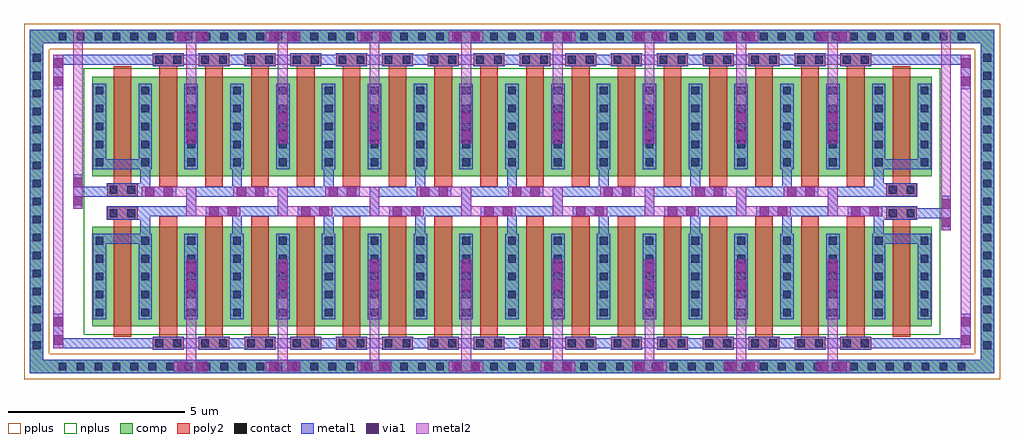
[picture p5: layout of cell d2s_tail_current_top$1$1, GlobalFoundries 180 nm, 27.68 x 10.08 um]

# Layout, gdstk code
from math import pi, radians
import gdstk
lib = gdstk.Library(unit=1e-6, precision=5e-09)
def R(c, l, rs):  # rectangles x0, y0, x1, y1
    for r in rs: c.add(gdstk.rectangle(r[:2], r[2:], *l))
def A(c, l, x, y, w, h, nx, ny, dx, dy):  # array of equal rectangles
    R(c, l, [(x+i*dx, y+j*dy, x+i*dx+w, y+j*dy+h) for i in range(nx) for j in range(ny)])
comp = (22, 0)
poly2 = (30, 0)
pplus = (31, 0)
nplus = (32, 0)
contact = (33, 0)
metal1 = (34, 0)
via1 = (35, 0)
metal2 = (36, 0)

d2s_tail_current_ncell_1 = lib.new_cell('d2s_tail_current_ncell_1$2$1$1')
R(d2s_tail_current_ncell_1, comp, [(0,0.3,0.42,3.12), (0.42,0.3,1.3,3.12), (1.3,0.3,1.72,3.12)])
R(d2s_tail_current_ncell_1, poly2, [(0.61,0,1.11,3.42)])
A(d2s_tail_current_ncell_1, contact, 0.1, 0.58, 0.22, 0.22, 1, 5, 0, 0.51)
A(d2s_tail_current_ncell_1, contact, 1.4, 0.58, 0.22, 0.22, 1, 5, 0, 0.51)
R(d2s_tail_current_ncell_1, metal1, [(0.02,0.5,0.4,2.92), (1.32,0.5,1.7,2.92)])

c_d2s_tail_current_ncell_1 = lib.new_cell('d2s_tail_current_ncell_1$1$1$1$1$1')
R(c_d2s_tail_current_ncell_1, comp, [(0,0.3,0.42,3.12), (0.42,0.3,1.3,3.12), (1.3,0.3,1.72,3.12)])
R(c_d2s_tail_current_ncell_1, poly2, [(0.61,0,1.11,3.42)])
A(c_d2s_tail_current_ncell_1, contact, 0.1, 0.58, 0.22, 0.22, 1, 5, 0, 0.51)
A(c_d2s_tail_current_ncell_1, contact, 1.4, 0.58, 0.22, 0.22, 1, 5, 0, 0.51)
R(c_d2s_tail_current_ncell_1, metal1, [(0.02,0.5,0.4,2.92), (1.32,0.5,1.7,2.92)])

d2s_tail_current_ncell_4 = lib.new_cell('d2s_tail_current_ncell_4$1$1$1$1')
A(d2s_tail_current_ncell_4, poly2, 0.425, 3.42, 0.87, 0.36, 4, 1, 1.3, 0)
R(d2s_tail_current_ncell_4, contact, [(0.495,3.49,0.715,3.71), (1.005,3.49,1.225,3.71), (1.795,3.49,2.015,3.71), (2.305,3.49,2.525,3.71), (3.095,3.49,3.315,3.71), (3.605,3.49,3.825,3.71), (4.395,3.49,4.615,3.71), (4.905,3.49,5.125,3.71)])
A(d2s_tail_current_ncell_4, metal1, 0.415, 3.41, 0.89, 0.38, 4, 1, 1.3, 0)
d2s_tail_current_ncell_4.add(gdstk.Reference(c_d2s_tail_current_ncell_1, (0,0)))
d2s_tail_current_ncell_4.add(gdstk.Reference(c_d2s_tail_current_ncell_1, (1.3,0)))
d2s_tail_current_ncell_4.add(gdstk.Reference(c_d2s_tail_current_ncell_1, (2.6,0)))
d2s_tail_current_ncell_4.add(gdstk.Reference(c_d2s_tail_current_ncell_1, (3.9,0)))

c_d2s_tail_current_ncell_4 = lib.new_cell('d2s_tail_current_ncell_4_4$1$1$1')
R(c_d2s_tail_current_ncell_4, via1, [(1.12,0.23,1.38,0.49), (1.64,0.23,1.9,0.49), (3.72,0.23,3.98,0.49), (4.24,0.23,4.5,0.49), (1.38,2.52,1.64,2.78), (3.98,2.52,4.24,2.78), (1.38,3.04,1.64,3.3), (3.98,3.04,4.24,3.3), (2.03,4.63,2.29,4.89), (2.55,4.63,2.81,4.89), (4.63,4.63,4.89,4.89), (5.15,4.63,5.41,4.89), (0.21,5.19,0.47,5.45), (0.73,5.19,0.99,5.45), (2.81,5.19,3.07,5.45), (3.33,5.19,3.59,5.45), (1.38,6.78,1.64,7.04), (3.98,6.78,4.24,7.04), (1.38,7.3,1.64,7.56), (3.98,7.3,4.24,7.56), (1.12,9.59,1.38,9.85), (1.64,9.59,1.9,9.85), (3.72,9.59,3.98,9.85), (4.24,9.59,4.5,9.85)])
c_d2s_tail_current_ncell_4.add(gdstk.FlexPath([(1.305,1.02),(5.41,1.02)], 0.28, ends="flush", simple_path=True, layer=34, datatype=0))  # metal1
c_d2s_tail_current_ncell_4.add(gdstk.FlexPath([(2.81,5.96),(2.81,5.46)], 0.28, ends="flush", simple_path=True, layer=34, datatype=0))  # metal1
c_d2s_tail_current_ncell_4.add(gdstk.FlexPath([(0.21,9.72),(5.41,9.72)], 0.38, ends="flush", simple_path=True, layer=34, datatype=0))  # metal1
c_d2s_tail_current_ncell_4.add(gdstk.FlexPath([(2.81,4.12),(2.81,4.62)], 0.28, ends="flush", simple_path=True, layer=34, datatype=0))  # metal1
c_d2s_tail_current_ncell_4.add(gdstk.FlexPath([(0.21,4.12),(0.21,4.62)], 0.28, ends="flush", simple_path=True, layer=34, datatype=0))  # metal1
c_d2s_tail_current_ncell_4.add(gdstk.FlexPath([(0.21,5.96),(0.21,5.46)], 0.28, ends="flush", simple_path=True, layer=34, datatype=0))  # metal1
c_d2s_tail_current_ncell_4.add(gdstk.FlexPath([(2.91,5.32),(1.51,5.32),(1.51,4.76),(0.07,4.76)], 0.28, ends="flush", simple_path=True, layer=34, datatype=0))  # metal1
c_d2s_tail_current_ncell_4.add(gdstk.FlexPath([(1.09,5.32),(0.07,5.32)], 0.28, ends="flush", simple_path=True, layer=34, datatype=0))  # metal1
c_d2s_tail_current_ncell_4.add(gdstk.FlexPath([(5.41,4.12),(5.41,4.62)], 0.28, ends="flush", simple_path=True, layer=34, datatype=0))  # metal1
c_d2s_tail_current_ncell_4.add(gdstk.FlexPath([(5.55,5.32),(4.11,5.32),(4.11,4.76),(2.71,4.76)], 0.28, ends="flush", simple_path=True, layer=34, datatype=0))  # metal1
c_d2s_tail_current_ncell_4.add(gdstk.FlexPath([(3.69,5.32),(2.71,5.32)], 0.28, ends="flush", simple_path=True, layer=34, datatype=0))  # metal1
c_d2s_tail_current_ncell_4.add(gdstk.FlexPath([(5.41,5.96),(5.41,5.46)], 0.28, ends="flush", simple_path=True, layer=34, datatype=0))  # metal1
c_d2s_tail_current_ncell_4.add(gdstk.FlexPath([(2.81,4.12),(2.81,4.62)], 0.28, ends="flush", simple_path=True, layer=34, datatype=0))  # metal1
c_d2s_tail_current_ncell_4.add(gdstk.FlexPath([(5.55,4.76),(4.53,4.76)], 0.28, ends="flush", simple_path=True, layer=34, datatype=0))  # metal1
c_d2s_tail_current_ncell_4.add(gdstk.FlexPath([(2.81,5.96),(2.81,5.46)], 0.28, ends="flush", simple_path=True, layer=34, datatype=0))  # metal1
c_d2s_tail_current_ncell_4.add(gdstk.FlexPath([(2.91,4.76),(1.93,4.76)], 0.28, ends="flush", simple_path=True, layer=34, datatype=0))  # metal1
c_d2s_tail_current_ncell_4.add(gdstk.FlexPath([(1.305,9.06),(5.41,9.06)], 0.28, ends="flush", simple_path=True, layer=34, datatype=0))  # metal1
c_d2s_tail_current_ncell_4.add(gdstk.FlexPath([(0.21,0.36),(5.41,0.36)], 0.38, ends="flush", simple_path=True, layer=34, datatype=0))  # metal1
c_d2s_tail_current_ncell_4.add(gdstk.FlexPath([(0.21,9.72),(5.41,9.72)], 0.38, ends="flush", simple_path=True, layer=22, datatype=0))  # comp
c_d2s_tail_current_ncell_4.add(gdstk.FlexPath([(0.21,0.36),(5.41,0.36)], 0.38, ends="flush", simple_path=True, layer=22, datatype=0))  # comp
c_d2s_tail_current_ncell_4.add(gdstk.FlexPath([(2.91,4.76),(1.51,4.76),(1.51,5.32),(0.11,5.32)], 0.28, ends="flush", simple_path=True, layer=36, datatype=0))  # metal2
c_d2s_tail_current_ncell_4.add(gdstk.FlexPath([(5.51,4.76),(4.11,4.76),(4.11,5.32),(2.71,5.32)], 0.28, ends="flush", simple_path=True, layer=36, datatype=0))  # metal2
c_d2s_tail_current_ncell_4.add(gdstk.FlexPath([(4.11,6.68),(4.11,7.66)], 0.28, ends="flush", simple_path=True, layer=36, datatype=0))  # metal2
c_d2s_tail_current_ncell_4.add(gdstk.FlexPath([(1.51,6.68),(1.51,7.66)], 0.28, ends="flush", simple_path=True, layer=36, datatype=0))  # metal2
c_d2s_tail_current_ncell_4.add(gdstk.FlexPath([(4.11,2.42),(4.11,3.4)], 0.28, ends="flush", simple_path=True, layer=36, datatype=0))  # metal2
c_d2s_tail_current_ncell_4.add(gdstk.FlexPath([(1.51,2.42),(1.51,3.4)], 0.28, ends="flush", simple_path=True, layer=36, datatype=0))  # metal2
c_d2s_tail_current_ncell_4.add(gdstk.FlexPath([(1.02,9.72),(2,9.72)], 0.28, ends="flush", simple_path=True, layer=36, datatype=0))  # metal2
c_d2s_tail_current_ncell_4.add(gdstk.FlexPath([(1.51,7.66),(1.51,9.58)], 0.28, ends="flush", simple_path=True, layer=36, datatype=0))  # metal2
c_d2s_tail_current_ncell_4.add(gdstk.FlexPath([(4.11,7.66),(4.11,9.58)], 0.28, ends="flush", simple_path=True, layer=36, datatype=0))  # metal2
c_d2s_tail_current_ncell_4.add(gdstk.FlexPath([(3.62,9.72),(4.6,9.72)], 0.28, ends="flush", simple_path=True, layer=36, datatype=0))  # metal2
c_d2s_tail_current_ncell_4.add(gdstk.FlexPath([(1.02,0.36),(2,0.36)], 0.28, ends="flush", simple_path=True, layer=36, datatype=0))  # metal2
c_d2s_tail_current_ncell_4.add(gdstk.FlexPath([(1.51,2.42),(1.51,0.5)], 0.28, ends="flush", simple_path=True, layer=36, datatype=0))  # metal2
c_d2s_tail_current_ncell_4.add(gdstk.FlexPath([(4.11,2.42),(4.11,0.5)], 0.28, ends="flush", simple_path=True, layer=36, datatype=0))  # metal2
c_d2s_tail_current_ncell_4.add(gdstk.FlexPath([(3.62,0.36),(4.6,0.36)], 0.28, ends="flush", simple_path=True, layer=36, datatype=0))  # metal2
c_d2s_tail_current_ncell_4.add(gdstk.FlexPath([(0.21,9.72),(5.41,9.72)], 0.72, ends="flush", simple_path=True, layer=31, datatype=0))  # pplus
c_d2s_tail_current_ncell_4.add(gdstk.FlexPath([(0.21,0.36),(5.41,0.36)], 0.72, ends="flush", simple_path=True, layer=31, datatype=0))  # pplus
c_d2s_tail_current_ncell_4.add(gdstk.Reference(d2s_tail_current_ncell_4, (0,5.46)))
c_d2s_tail_current_ncell_4.add(gdstk.Reference(d2s_tail_current_ncell_4, (0,4.62), x_reflection=True))

m1_m2_1_1 = lib.new_cell('M1_M2$1$1')
R(m1_m2_1_1, via1, [(0.1,0.01,0.36,0.27), (0.62,0.01,0.88,0.27)])
m1_m2_1_1.add(gdstk.FlexPath([(0,0.14),(0.98,0.14)], 0.28, ends="flush", simple_path=True, layer=34, datatype=0))  # metal1
m1_m2_1_1.add(gdstk.FlexPath([(0,0.14),(0.98,0.14)], 0.28, ends="flush", simple_path=True, layer=36, datatype=0))  # metal2

d2s_tail_current_top_1_1 = lib.new_cell('d2s_tail_current_top$1$1')
R(d2s_tail_current_top_1_1, poly2, [(2.355,4.53,3.225,4.89), (24.455,4.53,25.325,4.89), (2.355,5.19,3.225,5.55), (24.455,5.19,25.325,5.55)])
R(d2s_tail_current_top_1_1, nplus, [(1.69,1.26,25.99,8.82)])
A(d2s_tail_current_top_1_1, contact, 0.98, 0.25, 0.22, 0.22, 51, 2, 0.51, 9.36)
A(d2s_tail_current_top_1_1, contact, 0.25, 0.85, 0.22, 0.22, 1, 17, 0, 0.51)
A(d2s_tail_current_top_1_1, contact, 27.21, 0.85, 0.22, 0.22, 1, 17, 0, 0.51)
R(d2s_tail_current_top_1_1, contact, [(2.425,4.6,2.645,4.82), (2.935,4.6,3.155,4.82), (24.525,4.6,24.745,4.82), (25.035,4.6,25.255,4.82), (2.425,5.26,2.645,5.48), (2.935,5.26,3.155,5.48), (24.525,5.26,24.745,5.48), (25.035,5.26,25.255,5.48)])
R(d2s_tail_current_top_1_1, metal1, [(2.345,4.52,3.235,4.9), (3.235,4.52,3.3,4.9), (24.38,4.52,24.445,4.9), (24.445,4.52,25.335,4.9), (2.345,5.18,3.235,5.56), (3.235,5.18,3.3,5.56), (24.38,5.18,24.445,5.56), (24.445,5.18,25.335,5.56)])
d2s_tail_current_top_1_1.add(gdstk.FlexPath([(24.24,9.72),(27.32,9.72),(27.32,0.36),(24.24,0.36)], 0.38, ends="flush", simple_path=True, layer=34, datatype=0))  # metal1
d2s_tail_current_top_1_1.add(gdstk.FlexPath([(3.44,9.72),(0.36,9.72),(0.36,0.36),(3.44,0.36)], 0.38, ends="flush", simple_path=True, layer=34, datatype=0))  # metal1
d2s_tail_current_top_1_1.add(gdstk.FlexPath([(13.635,9.06),(14.045,9.06)], 0.28, ends="flush", simple_path=True, layer=34, datatype=0))  # metal1
d2s_tail_current_top_1_1.add(gdstk.FlexPath([(13.635,1.02),(14.045,1.02)], 0.28, ends="flush", simple_path=True, layer=34, datatype=0))  # metal1
d2s_tail_current_top_1_1.add(gdstk.FlexPath([(25.35,6.1),(24.43,6.1)], 0.28, ends="flush", simple_path=True, layer=34, datatype=0))  # metal1
d2s_tail_current_top_1_1.add(gdstk.FlexPath([(25.35,3.98),(24.43,3.98)], 0.28, ends="flush", simple_path=True, layer=34, datatype=0))  # metal1
d2s_tail_current_top_1_1.add(gdstk.FlexPath([(2.33,6.1),(3.25,6.1)], 0.28, ends="flush", simple_path=True, layer=34, datatype=0))  # metal1
d2s_tail_current_top_1_1.add(gdstk.FlexPath([(2.33,3.98),(3.25,3.98)], 0.28, ends="flush", simple_path=True, layer=34, datatype=0))  # metal1
d2s_tail_current_top_1_1.add(gdstk.FlexPath([(2.345,5.32),(1.67,5.32)], 0.28, ends="flush", simple_path=True, layer=34, datatype=0))  # metal1
d2s_tail_current_top_1_1.add(gdstk.FlexPath([(24.035,9.06),(26.85,9.06)], 0.28, ends="flush", simple_path=True, layer=34, datatype=0))  # metal1
d2s_tail_current_top_1_1.add(gdstk.FlexPath([(24.035,1.02),(26.85,1.02)], 0.28, ends="flush", simple_path=True, layer=34, datatype=0))  # metal1
d2s_tail_current_top_1_1.add(gdstk.FlexPath([(3.645,1.02),(0.83,1.02)], 0.28, ends="flush", simple_path=True, layer=34, datatype=0))  # metal1
d2s_tail_current_top_1_1.add(gdstk.FlexPath([(3.645,9.06),(0.83,9.06)], 0.28, ends="flush", simple_path=True, layer=34, datatype=0))  # metal1
d2s_tail_current_top_1_1.add(gdstk.FlexPath([(25.335,4.71),(26.01,4.71)], 0.28, ends="flush", simple_path=True, layer=34, datatype=0))  # metal1
d2s_tail_current_top_1_1.add(gdstk.FlexPath([(24.24,9.72),(27.32,9.72),(27.32,0.36),(24.24,0.36)], 0.38, ends="flush", simple_path=True, layer=22, datatype=0))  # comp
d2s_tail_current_top_1_1.add(gdstk.FlexPath([(3.44,9.72),(0.36,9.72),(0.36,0.36),(3.44,0.36)], 0.38, ends="flush", simple_path=True, layer=22, datatype=0))  # comp
d2s_tail_current_top_1_1.add(gdstk.FlexPath([(26.15,9.91),(26.15,4.22)], 0.28, ends="flush", simple_path=True, layer=36, datatype=0))  # metal2
d2s_tail_current_top_1_1.add(gdstk.FlexPath([(1.53,9.91),(1.53,4.83)], 0.28, ends="flush", simple_path=True, layer=36, datatype=0))  # metal2
d2s_tail_current_top_1_1.add(gdstk.FlexPath([(26.71,9.2),(26.71,0.88)], 0.28, ends="flush", simple_path=True, layer=36, datatype=0))  # metal2
d2s_tail_current_top_1_1.add(gdstk.FlexPath([(0.97,9.2),(0.97,0.88)], 0.28, ends="flush", simple_path=True, layer=36, datatype=0))  # metal2
d2s_tail_current_top_1_1.add(gdstk.FlexPath([(24.24,9.72),(27.32,9.72),(27.32,0.36),(24.24,0.36)], 0.72, ends="flush", simple_path=True, layer=31, datatype=0))  # pplus
d2s_tail_current_top_1_1.add(gdstk.FlexPath([(3.44,9.72),(0.36,9.72),(0.36,0.36),(3.44,0.36)], 0.72, ends="flush", simple_path=True, layer=31, datatype=0))  # pplus
d2s_tail_current_top_1_1.add(gdstk.Reference(d2s_tail_current_ncell_1, (24.03,5.46)))
d2s_tail_current_top_1_1.add(gdstk.Reference(d2s_tail_current_ncell_1, (24.03,1.2)))
d2s_tail_current_top_1_1.add(gdstk.Reference(d2s_tail_current_ncell_1, (3.65,5.46), rotation=pi, x_reflection=True))
d2s_tail_current_top_1_1.add(gdstk.Reference(d2s_tail_current_ncell_1, (3.65,1.2), rotation=pi, x_reflection=True))
d2s_tail_current_top_1_1.add(gdstk.Reference(c_d2s_tail_current_ncell_4, (13.63,0)))
d2s_tail_current_top_1_1.add(gdstk.Reference(c_d2s_tail_current_ncell_4, (3.23,0)))
d2s_tail_current_top_1_1.add(gdstk.Reference(c_d2s_tail_current_ncell_4, (14.05,10.08), rotation=pi))
d2s_tail_current_top_1_1.add(gdstk.Reference(c_d2s_tail_current_ncell_4, (24.45,10.08), rotation=pi))
d2s_tail_current_top_1_1.add(gdstk.Reference(m1_m2_1_1, (26.85,8.22), rotation=pi/2))
d2s_tail_current_top_1_1.add(gdstk.Reference(m1_m2_1_1, (26.29,4.22), rotation=pi/2))
d2s_tail_current_top_1_1.add(gdstk.Reference(m1_m2_1_1, (0.83,1.86), rotation=3*pi/2))
d2s_tail_current_top_1_1.add(gdstk.Reference(m1_m2_1_1, (0.83,8.22), rotation=pi/2, x_reflection=True))
d2s_tail_current_top_1_1.add(gdstk.Reference(m1_m2_1_1, (1.39,4.83), rotation=pi/2, x_reflection=True))
d2s_tail_current_top_1_1.add(gdstk.Reference(m1_m2_1_1, (26.85,1.86), rotation=3*pi/2, x_reflection=True))

lib.write_gds('d2s_tail_current_top_1_1.gds')
